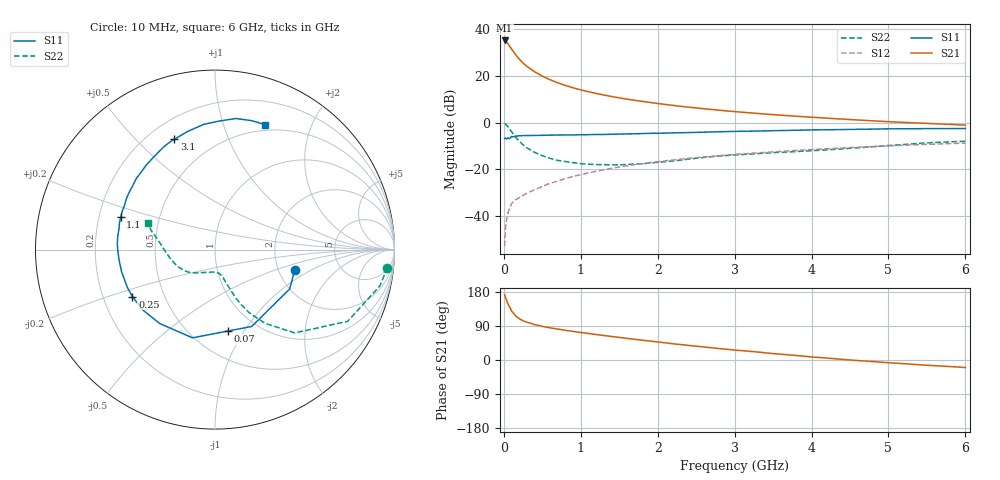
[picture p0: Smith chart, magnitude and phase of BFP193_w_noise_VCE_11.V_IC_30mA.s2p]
! Infineon Technologies  Discrete & RF Semiconductors
! BFP193
! VCE =  11. V,  IC =  30 mA
! Common Emitter S-Parameters:  Jan 2017
# GHz  S  MA  R  50
!  f  S11  S21  S12  S22
! GHz  MAG  ANG  MAG  ANG  MAG  ANG  MAG  ANG
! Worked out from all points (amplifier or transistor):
!   77 points, 10 MHz to 6 GHz, reference 50 ohm
!   highest |S21| = 35.1 dB at 10 MHz (marker M1)
!   |S21| within 3 dB of that: start of sweep to 85.94 MHz
!   unconditionally stable (mu >= 1): 807.6 MHz to 2.51 GHz
!   at 130 MHz: K = 0.45, MSG = 31.9 dB, |S12| = -33.6 dB
!   at 2.2 GHz: K = 1.01, MAG = 10.9 dB, |S12| = -15.9 dB
!   at 6 GHz: K = 0.90, MSG = 3.8 dB, |S12| = -8.7 dB
!   lowest NFmin = 1.22 dB at 450 MHz
!   S11 on the Smith chart (normalised r, x): 10 MHz: 2.47, -0.70; 70 MHz: 0.74, -0.85; 250 MHz: 0.33, -0.24; 1.1 GHz: 0.29, +0.15; 3.1 GHz: 0.30, +0.65; 6 GHz: 0.43, +1.39
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0.01  0.4593 -14.0  57.13 172.5  0.0023 81.7  0.9658 -6.0
0.02  0.4701 -27.9  56.29 166.3  0.0051 79.1  0.9407 -12.4
0.05  0.4745 -64.5  49.58 149.0  0.0114 69.4  0.8402 -28.4
0.07  0.4593 -80.9  44.2 142.3  0.0142 64.2  0.7527 -34.4
0.1  0.5073 -104.3  37.63 129.0  0.0186 59.4  0.6422 -46.3
0.15  0.5143 -126.8  28.68 117.0  0.0223 54.5  0.4951 -55.9
0.2  0.5247 -140.4  22.84 109.2  0.025 54.9  0.4013 -61.5
0.25  0.5295 -150.3  18.83 103.5  0.0279 55.1  0.3366 -64.7
0.3  0.5319 -156.9  15.93 99.6  0.0311 56.3  0.2898 -66.9
0.4  0.5349 -166.6  12.21 93.3  0.0369 59.2  0.2322 -69.3
0.5  0.5376 -173.7  9.861 88.8  0.0436 60.9  0.1972 -71.4
0.6  0.5417 -179.4  8.286 84.9  0.0507 61.6  0.1735 -73.1
0.7  0.5454 176.2  7.121 81.6  0.0565 63.5  0.1565 -74.1
0.9  0.547 168.0  5.56 75.4  0.0708 63.4  0.1401 -78.4
1.1  0.5551 161.1  4.587 70.0  0.0844 63.0  0.1302 -83.2
1.5  0.5714 148.9  3.389 59.6  0.1127 60.4  0.1259 -96.8
2.1  0.5994 132.1  2.452 45.3  0.1531 54.6  0.1468 -119.5
2.6  0.6271 120.4  1.984 34.3  0.1857 48.9  0.1807 -134.7
3.1  0.6549 110.2  1.673 24.6  0.2154 43.2  0.2088 -147.0
4.1  0.7033 93.6  1.278 6.6  0.2718 32.2  0.2574 -170.3
5.1  0.7403 79.6  1.032 -8.5  0.3245 21.0  0.333 168.6
6  0.7502 68.2  0.888 -19.8  0.3664 11.1  0.4012 158.3
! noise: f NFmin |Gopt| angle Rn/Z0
0.45  1.22  0.33  -174  0.08
0.9  1.27  0.38  -173  0.07
1.9  1.89  0.57  -137  0.17
2.4  2.22  0.62  -121  0.38
